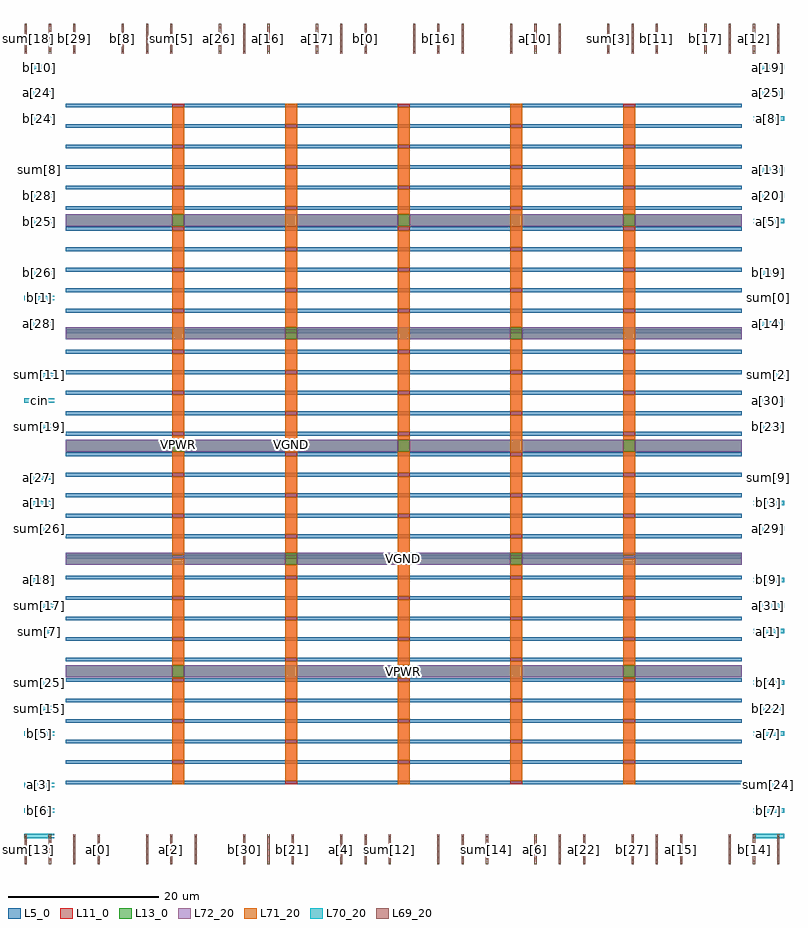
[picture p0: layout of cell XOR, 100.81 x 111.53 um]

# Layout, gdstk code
import gdstk
lib = gdstk.Library(unit=1e-6, precision=1e-09)
def R(c, l, rs):  # rectangles x0, y0, x1, y1
    for r in rs: c.add(gdstk.rectangle(r[:2], r[2:], *l))
def A(c, l, x, y, w, h, nx, ny, dx, dy):  # array of equal rectangles
    R(c, l, [(x+i*dx, y+j*dy, x+i*dx+w, y+j*dy+h) for i in range(nx) for j in range(ny)])
def P(c, l, *ps):  # polygons
    for p in ps: c.add(gdstk.Polygon(p, *l))
L5_0 = (5, 0)
L11_0 = (11, 0)
L13_0 = (13, 0)
L69_20 = (69, 20)
L70_20 = (70, 20)
L71_20 = (71, 20)
L72_20 = (72, 20)

xor = lib.new_cell('XOR')
P(xor, L69_20, [(0.09,0),(0.09,4),(0.16,4),(0.16,3.74),(0.3,3.74),(0.3,4),(0.37,4),(0.37,0)],
  [(3.31,0),(3.31,4),(3.38,4),(3.38,3.74),(3.52,3.74),(3.52,4),(3.59,4),(3.59,0)],
  [(6.53,0),(6.53,4),(6.6,4),(6.6,3.74),(6.74,3.74),(6.74,4),(6.81,4),(6.81,0)],
  [(9.75,0),(9.75,4),(9.82,4),(9.82,3.74),(9.96,3.74),(9.96,4),(10.03,4),(10.03,0)],
  [(16.19,0),(16.19,4),(16.26,4),(16.26,3.74),(16.4,3.74),(16.4,4),(16.47,4),(16.47,0)],
  [(19.41,0),(19.41,4),(19.48,4),(19.48,3.74),(19.62,3.74),(19.62,4),(19.69,4),(19.69,0)],
  [(22.63,0),(22.63,4),(22.7,4),(22.7,3.74),(22.84,3.74),(22.84,4),(22.91,4),(22.91,0)],
  [(29.07,0),(29.07,4),(29.14,4),(29.14,3.74),(29.28,3.74),(29.28,4),(29.35,4),(29.35,0)],
  [(32.29,0),(32.29,4),(32.36,4),(32.36,3.74),(32.5,3.74),(32.5,4),(32.57,4),(32.57,0)],
  [(35.51,0),(35.51,4),(35.58,4),(35.58,3.74),(35.72,3.74),(35.72,4),(35.79,4),(35.79,0)],
  [(41.95,0),(41.95,4),(42.02,4),(42.02,3.74),(42.16,3.74),(42.16,4),(42.23,4),(42.23,0)],
  [(45.17,0),(45.17,4),(45.24,4),(45.24,3.74),(45.38,3.74),(45.38,4),(45.45,4),(45.45,0)],
  [(48.39,0),(48.39,4),(48.46,4),(48.46,3.74),(48.6,3.74),(48.6,4),(48.67,4),(48.67,0)],
  [(54.83,0),(54.83,4),(54.9,4),(54.9,3.74),(55.04,3.74),(55.04,4),(55.11,4),(55.11,0)],
  [(58.05,0),(58.05,4),(58.12,4),(58.12,3.74),(58.26,3.74),(58.26,4),(58.33,4),(58.33,0)],
  [(61.27,0),(61.27,4),(61.34,4),(61.34,3.74),(61.48,3.74),(61.48,4),(61.55,4),(61.55,0)],
  [(67.71,0),(67.71,4),(67.78,4),(67.78,3.74),(67.92,3.74),(67.92,4),(67.99,4),(67.99,0)],
  [(70.93,0),(70.93,4),(71,4),(71,3.74),(71.14,3.74),(71.14,4),(71.21,4),(71.21,0)],
  [(74.15,0),(74.15,4),(74.22,4),(74.22,3.74),(74.36,3.74),(74.36,4),(74.43,4),(74.43,0)],
  [(80.59,0),(80.59,4),(80.66,4),(80.66,3.74),(80.8,3.74),(80.8,4),(80.87,4),(80.87,0)],
  [(83.81,0),(83.81,4),(83.88,4),(83.88,3.74),(84.02,3.74),(84.02,4),(84.09,4),(84.09,0)],
  [(87.03,0),(87.03,4),(87.1,4),(87.1,3.74),(87.24,3.74),(87.24,4),(87.31,4),(87.31,0)],
  [(93.47,0),(93.47,4),(93.54,4),(93.54,3.74),(93.68,3.74),(93.68,4),(93.75,4),(93.75,0)],
  [(96.69,0),(96.69,4),(96.76,4),(96.76,3.74),(96.9,3.74),(96.9,4),(96.97,4),(96.97,0)],
  [(99.91,0),(99.91,4),(99.98,4),(99.98,3.74),(100.12,3.74),(100.12,4),(100.19,4),(100.19,0)],
  [(0.09,107.525),(0.09,111.525),(0.37,111.525),(0.37,107.525),(0.3,107.525),(0.3,107.78),(0.16,107.78),(0.16,107.525)],
  [(3.31,107.525),(3.31,111.525),(3.59,111.525),(3.59,107.525),(3.52,107.525),(3.52,107.78),(3.38,107.78),(3.38,107.525)],
  [(6.53,107.525),(6.53,111.525),(6.81,111.525),(6.81,107.525),(6.74,107.525),(6.74,107.78),(6.6,107.78),(6.6,107.525)],
  [(12.97,107.525),(12.97,111.525),(13.25,111.525),(13.25,107.525),(13.18,107.525),(13.18,107.78),(13.04,107.78),(13.04,107.525)],
  [(16.19,107.525),(16.19,111.525),(16.47,111.525),(16.47,107.525),(16.4,107.525),(16.4,107.78),(16.26,107.78),(16.26,107.525)],
  [(19.41,107.525),(19.41,111.525),(19.69,111.525),(19.69,107.525),(19.62,107.525),(19.62,107.78),(19.48,107.78),(19.48,107.525)],
  [(25.85,107.525),(25.85,111.525),(26.13,111.525),(26.13,107.525),(26.06,107.525),(26.06,107.78),(25.92,107.78),(25.92,107.525)],
  [(29.07,107.525),(29.07,111.525),(29.35,111.525),(29.35,107.525),(29.28,107.525),(29.28,107.78),(29.14,107.78),(29.14,107.525)],
  [(32.29,107.525),(32.29,111.525),(32.57,111.525),(32.57,107.525),(32.5,107.525),(32.5,107.78),(32.36,107.78),(32.36,107.525)],
  [(38.73,107.525),(38.73,111.525),(39.01,111.525),(39.01,107.525),(38.94,107.525),(38.94,107.78),(38.8,107.78),(38.8,107.525)],
  [(41.95,107.525),(41.95,111.525),(42.23,111.525),(42.23,107.525),(42.16,107.525),(42.16,107.78),(42.02,107.78),(42.02,107.525)],
  [(45.17,107.525),(45.17,111.525),(45.45,111.525),(45.45,107.525),(45.38,107.525),(45.38,107.78),(45.24,107.78),(45.24,107.525)],
  [(51.61,107.525),(51.61,111.525),(51.89,111.525),(51.89,107.525),(51.82,107.525),(51.82,107.78),(51.68,107.78),(51.68,107.525)],
  [(54.83,107.525),(54.83,111.525),(55.11,111.525),(55.11,107.525),(55.04,107.525),(55.04,107.78),(54.9,107.78),(54.9,107.525)],
  [(58.05,107.525),(58.05,111.525),(58.33,111.525),(58.33,107.525),(58.26,107.525),(58.26,107.78),(58.12,107.78),(58.12,107.525)],
  [(64.49,107.525),(64.49,111.525),(64.77,111.525),(64.77,107.525),(64.7,107.525),(64.7,107.78),(64.56,107.78),(64.56,107.525)],
  [(67.71,107.525),(67.71,111.525),(67.99,111.525),(67.99,107.525),(67.92,107.525),(67.92,107.78),(67.78,107.78),(67.78,107.525)],
  [(70.93,107.525),(70.93,111.525),(71.21,111.525),(71.21,107.525),(71.14,107.525),(71.14,107.78),(71,107.78),(71,107.525)],
  [(77.37,107.525),(77.37,111.525),(77.65,111.525),(77.65,107.525),(77.58,107.525),(77.58,107.78),(77.44,107.78),(77.44,107.525)],
  [(80.59,107.525),(80.59,111.525),(80.87,111.525),(80.87,107.525),(80.8,107.525),(80.8,107.78),(80.66,107.78),(80.66,107.525)],
  [(83.81,107.525),(83.81,111.525),(84.09,111.525),(84.09,107.525),(84.02,107.525),(84.02,107.78),(83.88,107.78),(83.88,107.525)],
  [(90.25,107.525),(90.25,111.525),(90.53,111.525),(90.53,107.525),(90.46,107.525),(90.46,107.78),(90.32,107.78),(90.32,107.525)],
  [(93.47,107.525),(93.47,111.525),(93.75,111.525),(93.75,107.525),(93.68,107.525),(93.68,107.78),(93.54,107.78),(93.54,107.525)],
  [(96.69,107.525),(96.69,111.525),(96.97,111.525),(96.97,107.525),(96.9,107.525),(96.9,107.78),(96.76,107.78),(96.76,107.525)],
  [(99.91,107.525),(99.91,111.525),(100.19,111.525),(100.19,107.525),(100.12,107.525),(100.12,107.78),(99.98,107.78),(99.98,107.525)])
P(xor, L70_20, [(0,3.44),(0,4.04),(4,4.04),(4,3.89),(3.22,3.89),(3.22,3.59),(4,3.59),(4,3.44)],
  [(96.805,3.44),(96.805,3.59),(97.06,3.59),(97.06,3.89),(96.805,3.89),(96.805,4.04),(100.805,4.04),(100.805,3.44)],
  [(0,6.84),(0,7.44),(4,7.44),(4,7.29),(3.22,7.29),(3.22,6.99),(4,6.99),(4,6.84)],
  [(96.805,6.84),(96.805,6.99),(97.06,6.99),(97.06,7.29),(96.805,7.29),(96.805,7.44),(100.805,7.44),(100.805,6.84)],
  [(0,10.24),(0,10.84),(4,10.84),(4,10.69),(3.22,10.69),(3.22,10.39),(4,10.39),(4,10.24)],
  [(96.805,10.24),(96.805,10.39),(97.06,10.39),(97.06,10.69),(96.805,10.69),(96.805,10.84),(100.805,10.84),(100.805,10.24)],
  [(0,17.04),(0,17.64),(4,17.64),(4,17.49),(3.22,17.49),(3.22,17.19),(4,17.19),(4,17.04)],
  [(96.805,17.04),(96.805,17.19),(97.06,17.19),(97.06,17.49),(96.805,17.49),(96.805,17.64),(100.805,17.64),(100.805,17.04)],
  [(0,20.44),(0,21.04),(4,21.04),(4,20.89),(3.22,20.89),(3.22,20.59),(4,20.59),(4,20.44)],
  [(96.805,20.44),(96.805,20.59),(97.06,20.59),(97.06,20.89),(96.805,20.89),(96.805,21.04),(100.805,21.04),(100.805,20.44)],
  [(0,23.84),(0,24.44),(4,24.44),(4,24.29),(3.22,24.29),(3.22,23.99),(4,23.99),(4,23.84)],
  [(96.805,23.84),(96.805,23.99),(97.06,23.99),(97.06,24.29),(96.805,24.29),(96.805,24.44),(100.805,24.44),(100.805,23.84)],
  [(0,30.64),(0,31.24),(4,31.24),(4,31.09),(3.22,31.09),(3.22,30.79),(4,30.79),(4,30.64)],
  [(96.805,30.64),(96.805,30.79),(97.06,30.79),(97.06,31.09),(96.805,31.09),(96.805,31.24),(100.805,31.24),(100.805,30.64)],
  [(0,34.04),(0,34.64),(4,34.64),(4,34.49),(3.22,34.49),(3.22,34.19),(4,34.19),(4,34.04)],
  [(96.805,34.04),(96.805,34.19),(97.06,34.19),(97.06,34.49),(96.805,34.49),(96.805,34.64),(100.805,34.64),(100.805,34.04)],
  [(0,37.44),(0,38.04),(4,38.04),(4,37.89),(3.22,37.89),(3.22,37.59),(4,37.59),(4,37.44)],
  [(96.805,37.44),(96.805,37.59),(97.06,37.59),(97.06,37.89),(96.805,37.89),(96.805,38.04),(100.805,38.04),(100.805,37.44)],
  [(0,44.24),(0,44.84),(4,44.84),(4,44.69),(3.22,44.69),(3.22,44.39),(4,44.39),(4,44.24)],
  [(96.805,44.24),(96.805,44.39),(97.06,44.39),(97.06,44.69),(96.805,44.69),(96.805,44.84),(100.805,44.84),(100.805,44.24)],
  [(0,47.64),(0,48.24),(4,48.24),(4,48.09),(3.22,48.09),(3.22,47.79),(4,47.79),(4,47.64)],
  [(96.805,47.64),(96.805,47.79),(97.06,47.79),(97.06,48.09),(96.805,48.09),(96.805,48.24),(100.805,48.24),(100.805,47.64)],
  [(0,51.04),(0,51.64),(4,51.64),(4,51.49),(3.22,51.49),(3.22,51.19),(4,51.19),(4,51.04)],
  [(96.805,51.04),(96.805,51.19),(97.06,51.19),(97.06,51.49),(96.805,51.49),(96.805,51.64),(100.805,51.64),(100.805,51.04)],
  [(0,57.84),(0,58.44),(4,58.44),(4,58.29),(3.22,58.29),(3.22,57.99),(4,57.99),(4,57.84)],
  [(96.805,57.84),(96.805,57.99),(97.06,57.99),(97.06,58.29),(96.805,58.29),(96.805,58.44),(100.805,58.44),(100.805,57.84)],
  [(0,61.24),(0,61.84),(4,61.84),(4,61.69),(3.22,61.69),(3.22,61.39),(4,61.39),(4,61.24)],
  [(96.805,61.24),(96.805,61.39),(97.06,61.39),(97.06,61.69),(96.805,61.69),(96.805,61.84),(100.805,61.84),(100.805,61.24)],
  [(0,64.64),(0,65.24),(4,65.24),(4,65.09),(3.22,65.09),(3.22,64.79),(4,64.79),(4,64.64)],
  [(96.805,64.64),(96.805,64.79),(97.06,64.79),(97.06,65.09),(96.805,65.09),(96.805,65.24),(100.805,65.24),(100.805,64.64)],
  [(0,71.44),(0,72.04),(4,72.04),(4,71.89),(3.22,71.89),(3.22,71.59),(4,71.59),(4,71.44)],
  [(96.805,71.44),(96.805,71.59),(97.06,71.59),(97.06,71.89),(96.805,71.89),(96.805,72.04),(100.805,72.04),(100.805,71.44)],
  [(0,74.84),(0,75.44),(4,75.44),(4,75.29),(3.22,75.29),(3.22,74.99),(4,74.99),(4,74.84)],
  [(96.805,74.84),(96.805,74.99),(97.06,74.99),(97.06,75.29),(96.805,75.29),(96.805,75.44),(100.805,75.44),(100.805,74.84)],
  [(0,78.24),(0,78.84),(4,78.84),(4,78.69),(3.22,78.69),(3.22,78.39),(4,78.39),(4,78.24)],
  [(96.805,78.24),(96.805,78.39),(97.06,78.39),(97.06,78.69),(96.805,78.69),(96.805,78.84),(100.805,78.84),(100.805,78.24)],
  [(0,85.04),(0,85.64),(4,85.64),(4,85.49),(3.22,85.49),(3.22,85.19),(4,85.19),(4,85.04)],
  [(96.805,85.04),(96.805,85.19),(97.06,85.19),(97.06,85.49),(96.805,85.49),(96.805,85.64),(100.805,85.64),(100.805,85.04)],
  [(0,88.44),(0,89.04),(4,89.04),(4,88.89),(3.22,88.89),(3.22,88.59),(4,88.59),(4,88.44)],
  [(96.805,88.44),(96.805,88.59),(97.06,88.59),(97.06,88.89),(96.805,88.89),(96.805,89.04),(100.805,89.04),(100.805,88.44)],
  [(0,91.84),(0,92.44),(4,92.44),(4,92.29),(3.22,92.29),(3.22,91.99),(4,91.99),(4,91.84)],
  [(96.805,91.84),(96.805,91.99),(97.06,91.99),(97.06,92.29),(96.805,92.29),(96.805,92.44),(100.805,92.44),(100.805,91.84)],
  [(0,98.64),(0,99.24),(4,99.24),(4,99.09),(3.22,99.09),(3.22,98.79),(4,98.79),(4,98.64)],
  [(96.805,98.64),(96.805,98.79),(97.06,98.79),(97.06,99.09),(96.805,99.09),(96.805,99.24),(100.805,99.24),(100.805,98.64)],
  [(0,102.04),(0,102.64),(4,102.64),(4,102.49),(3.22,102.49),(3.22,102.19),(4,102.19),(4,102.04)],
  [(96.805,102.04),(96.805,102.19),(97.06,102.19),(97.06,102.49),(96.805,102.49),(96.805,102.64),(100.805,102.64),(100.805,102.04)],
  [(0,105.44),(0,106.04),(4,106.04),(4,105.89),(3.22,105.89),(3.22,105.59),(4,105.59),(4,105.44)],
  [(96.805,105.44),(96.805,105.59),(97.06,105.59),(97.06,105.89),(96.805,105.89),(96.805,106.04),(100.805,106.04),(100.805,105.44)])
A(xor, L71_20, 19.67, 10.64, 1.6, 2.72, 3, 1, 29.9, 0)
A(xor, L71_20, 34.62, 11.12, 1.6, 4.96, 1, 5, 0, 5.44)
A(xor, L71_20, 64.52, 11.12, 1.6, 4.96, 1, 5, 0, 5.44)
A(xor, L71_20, 19.67, 13.84, 1.6, 4.96, 3, 2, 29.9, 5.44)
A(xor, L71_20, 19.67, 24.72, 1.6, 0.08, 3, 2, 29.9, 59.84)
A(xor, L71_20, 19.67, 26.4, 1.6, 3.28, 3, 2, 29.9, 59.84)
A(xor, L71_20, 19.67, 30.16, 1.6, 4.96, 3, 4, 29.9, 5.44)
A(xor, L71_20, 34.62, 43.76, 1.6, 4.96, 1, 4, 0, 5.44)
A(xor, L71_20, 64.52, 43.76, 1.6, 4.96, 1, 4, 0, 5.44)
A(xor, L71_20, 19.67, 51.92, 1.6, 2.8, 3, 1, 29.9, 0)
A(xor, L71_20, 19.67, 56.32, 1.6, 0.56, 3, 1, 29.9, 0)
A(xor, L71_20, 19.67, 57.36, 1.6, 4.96, 3, 5, 29.9, 5.44)
A(xor, L71_20, 34.62, 76.4, 1.6, 4.96, 1, 4, 0, 5.44)
A(xor, L71_20, 64.52, 76.4, 1.6, 4.96, 1, 4, 0, 5.44)
A(xor, L71_20, 19.67, 90, 1.6, 4.96, 3, 2, 29.9, 5.44)
R(xor, L71_20, [(34.62,38.32,36.22,39.76), (64.52,38.32,66.12,39.76), (34.62,41.36,36.22,43.28), (64.52,41.36,66.12,43.28), (34.62,65.52,36.22,69.68), (64.52,65.52,66.12,69.68), (34.62,71.28,36.22,75.92), (64.52,71.28,66.12,75.92), (34.62,98.16,36.22,100.88), (64.52,98.16,66.12,100.88)])
A(xor, L72_20, 5.52, 24.8, 14.15, 1.6, 1, 3, 0, 29.92)
A(xor, L72_20, 21.27, 24.8, 28.3, 1.6, 1, 3, 0, 29.92)
A(xor, L72_20, 51.17, 24.8, 28.3, 1.6, 1, 3, 0, 29.92)
A(xor, L72_20, 81.07, 24.8, 14.15, 1.6, 1, 3, 0, 29.92)
R(xor, L72_20, [(5.52,39.76,34.62,41.36), (36.22,39.76,64.52,41.36), (66.12,39.76,95.22,41.36), (5.52,69.68,34.62,71.28), (36.22,69.68,64.52,71.28), (66.12,69.68,95.22,71.28)])
xor.add(gdstk.FlexPath([(65.32,10.64),(65.32,100.88)], 1.6, ends="flush", simple_path=True, layer=11, datatype=0))  # L11_0
xor.add(gdstk.FlexPath([(35.42,10.64),(35.42,100.88)], 1.6, ends="flush", simple_path=True, layer=11, datatype=0))  # L11_0
xor.add(gdstk.FlexPath([(80.27,10.64),(80.27,100.88)], 1.6, ends="flush", simple_path=True, layer=11, datatype=0))  # L11_0
xor.add(gdstk.FlexPath([(50.37,10.64),(50.37,100.88)], 1.6, ends="flush", simple_path=True, layer=11, datatype=0))  # L11_0
xor.add(gdstk.FlexPath([(20.47,10.64),(20.47,100.88)], 1.6, ends="flush", simple_path=True, layer=11, datatype=0))  # L11_0
xor.add(gdstk.FlexPath([(5.52,70.48),(95.22,70.48)], 1.6, ends="flush", simple_path=True, layer=13, datatype=0))  # L13_0
xor.add(gdstk.FlexPath([(5.52,40.56),(95.22,40.56)], 1.6, ends="flush", simple_path=True, layer=13, datatype=0))  # L13_0
xor.add(gdstk.FlexPath([(5.52,85.44),(95.22,85.44)], 1.6, ends="flush", simple_path=True, layer=13, datatype=0))  # L13_0
xor.add(gdstk.FlexPath([(5.52,55.52),(95.22,55.52)], 1.6, ends="flush", simple_path=True, layer=13, datatype=0))  # L13_0
xor.add(gdstk.FlexPath([(5.52,25.6),(95.22,25.6)], 1.6, ends="flush", simple_path=True, layer=13, datatype=0))  # L13_0
xor.add(gdstk.FlexPath([(5.52,97.92),(95.22,97.92)], 0.48, ends="flush", simple_path=True, layer=5, datatype=0))  # L5_0
xor.add(gdstk.FlexPath([(5.52,92.48),(95.22,92.48)], 0.48, ends="flush", simple_path=True, layer=5, datatype=0))  # L5_0
xor.add(gdstk.FlexPath([(5.52,87.04),(95.22,87.04)], 0.48, ends="flush", simple_path=True, layer=5, datatype=0))  # L5_0
xor.add(gdstk.FlexPath([(5.52,81.6),(95.22,81.6)], 0.48, ends="flush", simple_path=True, layer=5, datatype=0))  # L5_0
xor.add(gdstk.FlexPath([(5.52,76.16),(95.22,76.16)], 0.48, ends="flush", simple_path=True, layer=5, datatype=0))  # L5_0
xor.add(gdstk.FlexPath([(5.52,70.72),(95.22,70.72)], 0.48, ends="flush", simple_path=True, layer=5, datatype=0))  # L5_0
xor.add(gdstk.FlexPath([(5.52,65.28),(95.22,65.28)], 0.48, ends="flush", simple_path=True, layer=5, datatype=0))  # L5_0
xor.add(gdstk.FlexPath([(5.52,59.84),(95.22,59.84)], 0.48, ends="flush", simple_path=True, layer=5, datatype=0))  # L5_0
xor.add(gdstk.FlexPath([(5.52,54.4),(95.22,54.4)], 0.48, ends="flush", simple_path=True, layer=5, datatype=0))  # L5_0
xor.add(gdstk.FlexPath([(5.52,48.96),(95.22,48.96)], 0.48, ends="flush", simple_path=True, layer=5, datatype=0))  # L5_0
xor.add(gdstk.FlexPath([(5.52,43.52),(95.22,43.52)], 0.48, ends="flush", simple_path=True, layer=5, datatype=0))  # L5_0
xor.add(gdstk.FlexPath([(5.52,38.08),(95.22,38.08)], 0.48, ends="flush", simple_path=True, layer=5, datatype=0))  # L5_0
xor.add(gdstk.FlexPath([(5.52,32.64),(95.22,32.64)], 0.48, ends="flush", simple_path=True, layer=5, datatype=0))  # L5_0
xor.add(gdstk.FlexPath([(5.52,27.2),(95.22,27.2)], 0.48, ends="flush", simple_path=True, layer=5, datatype=0))  # L5_0
xor.add(gdstk.FlexPath([(5.52,21.76),(95.22,21.76)], 0.48, ends="flush", simple_path=True, layer=5, datatype=0))  # L5_0
xor.add(gdstk.FlexPath([(5.52,16.32),(95.22,16.32)], 0.48, ends="flush", simple_path=True, layer=5, datatype=0))  # L5_0
xor.add(gdstk.FlexPath([(5.52,10.88),(95.22,10.88)], 0.48, ends="flush", simple_path=True, layer=5, datatype=0))  # L5_0
xor.add(gdstk.FlexPath([(5.52,100.64),(95.22,100.64)], 0.48, ends="flush", simple_path=True, layer=5, datatype=0))  # L5_0
xor.add(gdstk.FlexPath([(5.52,95.2),(95.22,95.2)], 0.48, ends="flush", simple_path=True, layer=5, datatype=0))  # L5_0
xor.add(gdstk.FlexPath([(5.52,89.76),(95.22,89.76)], 0.48, ends="flush", simple_path=True, layer=5, datatype=0))  # L5_0
xor.add(gdstk.FlexPath([(5.52,84.32),(95.22,84.32)], 0.48, ends="flush", simple_path=True, layer=5, datatype=0))  # L5_0
xor.add(gdstk.FlexPath([(5.52,78.88),(95.22,78.88)], 0.48, ends="flush", simple_path=True, layer=5, datatype=0))  # L5_0
xor.add(gdstk.FlexPath([(5.52,73.44),(95.22,73.44)], 0.48, ends="flush", simple_path=True, layer=5, datatype=0))  # L5_0
xor.add(gdstk.FlexPath([(5.52,68),(95.22,68)], 0.48, ends="flush", simple_path=True, layer=5, datatype=0))  # L5_0
xor.add(gdstk.FlexPath([(5.52,62.56),(95.22,62.56)], 0.48, ends="flush", simple_path=True, layer=5, datatype=0))  # L5_0
xor.add(gdstk.FlexPath([(5.52,57.12),(95.22,57.12)], 0.48, ends="flush", simple_path=True, layer=5, datatype=0))  # L5_0
xor.add(gdstk.FlexPath([(5.52,51.68),(95.22,51.68)], 0.48, ends="flush", simple_path=True, layer=5, datatype=0))  # L5_0
xor.add(gdstk.FlexPath([(5.52,46.24),(95.22,46.24)], 0.48, ends="flush", simple_path=True, layer=5, datatype=0))  # L5_0
xor.add(gdstk.FlexPath([(5.52,40.8),(95.22,40.8)], 0.48, ends="flush", simple_path=True, layer=5, datatype=0))  # L5_0
xor.add(gdstk.FlexPath([(5.52,35.36),(95.22,35.36)], 0.48, ends="flush", simple_path=True, layer=5, datatype=0))  # L5_0
xor.add(gdstk.FlexPath([(5.52,29.92),(95.22,29.92)], 0.48, ends="flush", simple_path=True, layer=5, datatype=0))  # L5_0
xor.add(gdstk.FlexPath([(5.52,24.48),(95.22,24.48)], 0.48, ends="flush", simple_path=True, layer=5, datatype=0))  # L5_0
xor.add(gdstk.FlexPath([(5.52,19.04),(95.22,19.04)], 0.48, ends="flush", simple_path=True, layer=5, datatype=0))  # L5_0
xor.add(gdstk.FlexPath([(5.52,13.6),(95.22,13.6)], 0.48, ends="flush", simple_path=True, layer=5, datatype=0))  # L5_0
xor.add(gdstk.Label('a[0]', (9.89,2), layer=69, texttype=5))
xor.add(gdstk.Label('a[10]', (67.85,109.525), layer=69, texttype=5))
xor.add(gdstk.Label('a[12]', (96.83,109.525), layer=69, texttype=5))
xor.add(gdstk.Label('a[15]', (87.17,2), layer=69, texttype=5))
xor.add(gdstk.Label('a[16]', (32.43,109.525), layer=69, texttype=5))
xor.add(gdstk.Label('a[17]', (38.87,109.525), layer=69, texttype=5))
xor.add(gdstk.Label('a[21]', (29.21,109.525), layer=69, texttype=5))
xor.add(gdstk.Label('a[22]', (74.29,2), layer=69, texttype=5))
xor.add(gdstk.Label('a[26]', (25.99,109.525), layer=69, texttype=5))
xor.add(gdstk.Label('a[2]', (19.55,2), layer=69, texttype=5))
xor.add(gdstk.Label('a[4]', (42.09,2), layer=69, texttype=5))
xor.add(gdstk.Label('a[6]', (67.85,2), layer=69, texttype=5))
xor.add(gdstk.Label('a[9]', (64.63,109.525), layer=69, texttype=5))
xor.add(gdstk.Label('b[0]', (45.31,109.525), layer=69, texttype=5))
xor.add(gdstk.Label('b[11]', (83.95,109.525), layer=69, texttype=5))
xor.add(gdstk.Label('b[12]', (22.77,2), layer=69, texttype=5))
xor.add(gdstk.Label('b[14]', (96.83,2), layer=69, texttype=5))
xor.add(gdstk.Label('b[15]', (42.09,109.525), layer=69, texttype=5))
xor.add(gdstk.Label('b[16]', (54.97,109.525), layer=69, texttype=5))
xor.add(gdstk.Label('b[17]', (90.39,109.525), layer=69, texttype=5))
xor.add(gdstk.Label('b[18]', (100.05,2), layer=69, texttype=5))
xor.add(gdstk.Label('b[20]', (58.19,109.525), layer=69, texttype=5))
xor.add(gdstk.Label('b[21]', (35.65,2), layer=69, texttype=5))
xor.add(gdstk.Label('b[27]', (80.73,2), layer=69, texttype=5))
xor.add(gdstk.Label('b[29]', (6.67,109.525), layer=69, texttype=5))
xor.add(gdstk.Label('b[2]', (6.67,2), layer=69, texttype=5))
xor.add(gdstk.Label('b[30]', (29.21,2), layer=69, texttype=5))
xor.add(gdstk.Label('b[31]', (93.61,2), layer=69, texttype=5))
xor.add(gdstk.Label('b[8]', (13.11,109.525), layer=69, texttype=5))
xor.add(gdstk.Label('cout', (83.95,2), layer=69, texttype=5))
xor.add(gdstk.Label('sum[10]', (16.33,109.525), layer=69, texttype=5))
xor.add(gdstk.Label('sum[12]', (48.53,2), layer=69, texttype=5))
xor.add(gdstk.Label('sum[13]', (0.23,2), layer=69, texttype=5))
xor.add(gdstk.Label('sum[14]', (61.41,2), layer=69, texttype=5))
xor.add(gdstk.Label('sum[16]', (51.75,109.525), layer=69, texttype=5))
xor.add(gdstk.Label('sum[18]', (0.23,109.525), layer=69, texttype=5))
xor.add(gdstk.Label('sum[1]', (3.45,2), layer=69, texttype=5))
xor.add(gdstk.Label('sum[20]', (93.61,109.525), layer=69, texttype=5))
xor.add(gdstk.Label('sum[21]', (71.07,109.525), layer=69, texttype=5))
xor.add(gdstk.Label('sum[22]', (45.31,2), layer=69, texttype=5))
xor.add(gdstk.Label('sum[23]', (100.05,109.525), layer=69, texttype=5))
xor.add(gdstk.Label('sum[27]', (16.33,2), layer=69, texttype=5))
xor.add(gdstk.Label('sum[28]', (32.43,2), layer=69, texttype=5))
xor.add(gdstk.Label('sum[29]', (54.97,2), layer=69, texttype=5))
xor.add(gdstk.Label('sum[30]', (58.19,2), layer=69, texttype=5))
xor.add(gdstk.Label('sum[31]', (80.73,109.525), layer=69, texttype=5))
xor.add(gdstk.Label('sum[3]', (77.51,109.525), layer=69, texttype=5))
xor.add(gdstk.Label('sum[4]', (3.45,109.525), layer=69, texttype=5))
xor.add(gdstk.Label('sum[5]', (19.55,109.525), layer=69, texttype=5))
xor.add(gdstk.Label('sum[6]', (71.07,2), layer=69, texttype=5))
xor.add(gdstk.Label('a[11]', (2,47.94), layer=70, texttype=5))
xor.add(gdstk.Label('a[13]', (98.805,92.14), layer=70, texttype=5))
xor.add(gdstk.Label('a[14]', (98.805,71.74), layer=70, texttype=5))
xor.add(gdstk.Label('a[18]', (2,37.74), layer=70, texttype=5))
xor.add(gdstk.Label('a[19]', (98.805,105.74), layer=70, texttype=5))
xor.add(gdstk.Label('a[1]', (98.805,30.94), layer=70, texttype=5))
xor.add(gdstk.Label('a[20]', (98.805,88.74), layer=70, texttype=5))
xor.add(gdstk.Label('a[23]', (2,3.74), layer=70, texttype=5))
xor.add(gdstk.Label('a[24]', (2,102.34), layer=70, texttype=5))
xor.add(gdstk.Label('a[25]', (98.805,102.34), layer=70, texttype=5))
xor.add(gdstk.Label('a[27]', (2,51.34), layer=70, texttype=5))
xor.add(gdstk.Label('a[28]', (2,71.74), layer=70, texttype=5))
xor.add(gdstk.Label('a[29]', (98.805,44.54), layer=70, texttype=5))
xor.add(gdstk.Label('a[30]', (98.805,61.54), layer=70, texttype=5))
xor.add(gdstk.Label('a[31]', (98.805,34.34), layer=70, texttype=5))
xor.add(gdstk.Label('a[3]', (2,10.54), layer=70, texttype=5))
xor.add(gdstk.Label('a[5]', (98.805,85.34), layer=70, texttype=5))
xor.add(gdstk.Label('a[7]', (98.805,17.34), layer=70, texttype=5))
xor.add(gdstk.Label('a[8]', (98.805,98.94), layer=70, texttype=5))
xor.add(gdstk.Label('b[10]', (2,105.74), layer=70, texttype=5))
xor.add(gdstk.Label('b[13]', (98.805,3.74), layer=70, texttype=5))
xor.add(gdstk.Label('b[19]', (98.805,78.54), layer=70, texttype=5))
xor.add(gdstk.Label('b[1]', (2,75.14), layer=70, texttype=5))
xor.add(gdstk.Label('b[22]', (98.805,20.74), layer=70, texttype=5))
xor.add(gdstk.Label('b[23]', (98.805,58.14), layer=70, texttype=5))
xor.add(gdstk.Label('b[24]', (2,98.94), layer=70, texttype=5))
xor.add(gdstk.Label('b[25]', (2,85.34), layer=70, texttype=5))
xor.add(gdstk.Label('b[26]', (2,78.54), layer=70, texttype=5))
xor.add(gdstk.Label('b[28]', (2,88.74), layer=70, texttype=5))
xor.add(gdstk.Label('b[3]', (98.805,47.94), layer=70, texttype=5))
xor.add(gdstk.Label('b[4]', (98.805,24.14), layer=70, texttype=5))
xor.add(gdstk.Label('b[5]', (2,17.34), layer=70, texttype=5))
xor.add(gdstk.Label('b[6]', (2,7.14), layer=70, texttype=5))
xor.add(gdstk.Label('b[7]', (98.805,7.14), layer=70, texttype=5))
xor.add(gdstk.Label('b[9]', (98.805,37.74), layer=70, texttype=5))
xor.add(gdstk.Label('cin', (2,61.54), layer=70, texttype=5))
xor.add(gdstk.Label('sum[0]', (98.805,75.14), layer=70, texttype=5))
xor.add(gdstk.Label('sum[11]', (2,64.94), layer=70, texttype=5))
xor.add(gdstk.Label('sum[15]', (2,20.74), layer=70, texttype=5))
xor.add(gdstk.Label('sum[17]', (2,34.34), layer=70, texttype=5))
xor.add(gdstk.Label('sum[19]', (2,58.14), layer=70, texttype=5))
xor.add(gdstk.Label('sum[24]', (98.805,10.54), layer=70, texttype=5))
xor.add(gdstk.Label('sum[25]', (2,24.14), layer=70, texttype=5))
xor.add(gdstk.Label('sum[26]', (2,44.54), layer=70, texttype=5))
xor.add(gdstk.Label('sum[2]', (98.805,64.94), layer=70, texttype=5))
xor.add(gdstk.Label('sum[7]', (2,30.94), layer=70, texttype=5))
xor.add(gdstk.Label('sum[8]', (2,92.14), layer=70, texttype=5))
xor.add(gdstk.Label('sum[9]', (98.805,51.34), layer=70, texttype=5))
xor.add(gdstk.Label('VGND', (35.42,55.76), layer=71, texttype=5))
xor.add(gdstk.Label('VPWR', (20.47,55.76), layer=71, texttype=5))
xor.add(gdstk.Label('VGND', (50.37,40.56), layer=72, texttype=5))
xor.add(gdstk.Label('VPWR', (50.37,25.6), layer=72, texttype=5))

lib.write_gds('XOR.gds')
